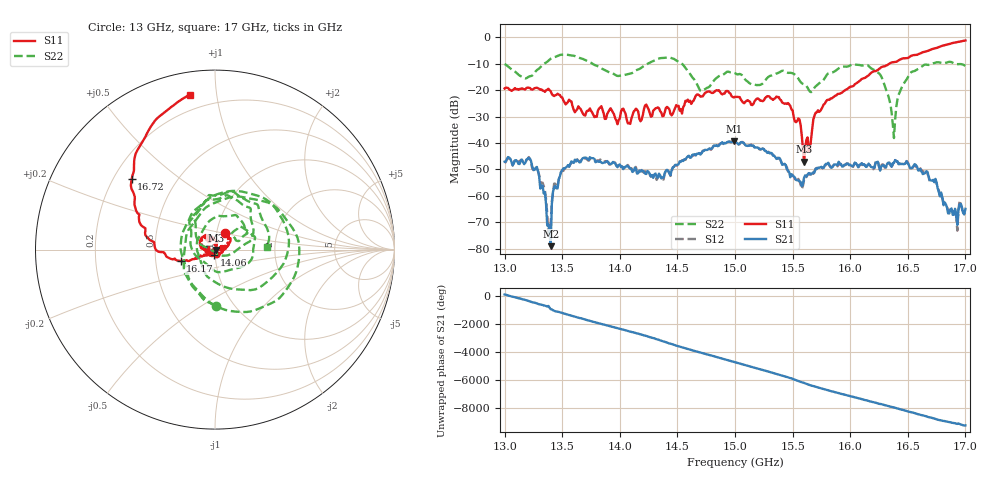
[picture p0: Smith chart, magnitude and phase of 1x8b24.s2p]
!Keysight Technologies,P9374A,MY57211807,A.19.30.04
!Date: Friday, May 08, 2026 14:26:08
!Correction: S11(C  2-Port  )
!S21(C  2-Port  )
!S12(C  2-Port  )
!S22(C  2-Port  )
!S2P File: Measurements: S11, S21, S12, S22:
# Hz S  dB  R 50
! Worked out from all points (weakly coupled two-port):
!   401 points, 13 GHz to 17 GHz, reference 50 ohm
!   highest |S21| = -39.34 dB at 14.99 GHz (marker M1); lowest = -79.0 dB at 13.4 GHz (marker M2)
!   lowest |S11| = -47.0 dB at 15.6 GHz (marker M3), VSWR 1.01, Z = 50.4 - j0.23 ohm
!   |S11| at or under -10 dB: start of sweep to 16.34 GHz
!   |S22| runs from -38.1 to -6.5 dB; largest |S21 - S12| = 0.00068
!   S11 on the Smith chart (normalised r, x): 13 GHz: 1.10, +0.21; 14.06 GHz: 0.99, -0.05; 16.17 GHz: 0.67, -0.09; 16.72 GHz: 0.27, +0.34; 17 GHz: 0.11, +0.84
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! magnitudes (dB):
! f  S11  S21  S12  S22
! 13 GHz  -19.3  -47.1  -47.5  -10.1
! 13.22 GHz  -19.1  -45.9  -46.3  -14.7
! 13.38 GHz  -19.4  -70.7  -74.3  -8.8
! 13.4 GHz  -20.4  -79.0  -70.4  -8.1
! 13.49 GHz  -22.6  -51.0  -50.9  -6.6
! 13.67 GHz  -28.0  -46.2  -46.0  -8.0
! 14.06 GHz  -31.1  -48.6  -48.6  -14.0
! 14.34 GHz  -26.8  -51.6  -52.3  -8.0
! 14.71 GHz  -22.3  -43.8  -43.6  -20.4
! 14.99 GHz  -22.8  -39.3  -39.3  -13.4
! 15 GHz  -22.5  -39.5  -39.4  -13.5
! 15.46 GHz  -24.8  -50.4  -50.8  -13.4
! 15.6 GHz  -47.0  -53.0  -53.7  -17.8
! 15.67 GHz  -34.8  -51.4  -50.8  -20.3
! 15.79 GHz  -24.2  -47.9  -48.2  -14.6
! 16.17 GHz  -13.9  -48.4  -48.4  -11.2
! 16.34 GHz  -10.0  -47.4  -47.7  -23.6
! 16.38 GHz  -9.4  -47.5  -47.3  -38.1
! 16.51 GHz  -7.6  -48.3  -48.4  -14.3
! 16.72 GHz  -4.3  -53.9  -54.3  -9.8
! 16.87 GHz  -2.4  -65.2  -64.3  -9.3
! 17 GHz  -1.2  -64.9  -66.3  -10.8
